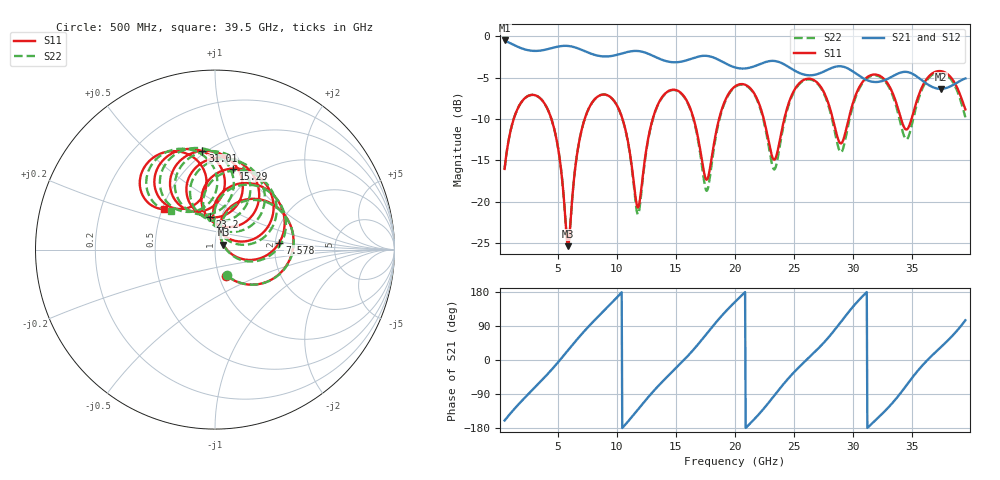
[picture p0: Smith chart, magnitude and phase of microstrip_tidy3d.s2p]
!Created with skrf (http://scikit-rf.org).
# Hz S RI R 50.0
!freq ReS11 ImS11 ReS21 ImS21 ReS12 ImS12 ReS22 ImS22
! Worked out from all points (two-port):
!   800 points, 500 MHz to 39.5 GHz, reference 50 ohm
!   highest |S21| = -0.49 dB at 500 MHz (marker M1); lowest = -6.3 dB at 37.4 GHz (marker M2)
!   |S21| within 3 dB of the highest: start of sweep to 19.52 GHz; 21.86 GHz to 24.3 GHz (2.437 GHz wide, 10.6 % of centre)
!   lowest |S11| = -25.4 dB at 5.869 GHz (marker M3), VSWR 1.11, Z = 54.8 + j2.93 ohm
!   |S11| at or under -10 dB: 4.465 GHz to 7.273 GHz (2.808 GHz wide, 47.9 % of centre); 10.48 GHz to 13.03 GHz (2.548 GHz wide, 21.7 % of centre); 16.51 GHz to 18.65 GHz (2.138 GHz wide, 12.2 % of centre)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
!   |S22| runs from -25.3 to -4.3 dB; largest |S21 - S12| = 0.0062
!   S11 on the Smith chart (normalised r, x): 500 MHz: 1.09, -0.32; 7.578 GHz: 2.11, +0.19; 15.29 GHz: 0.78, +0.89; 23.2 GHz: 0.88, +0.33; 31.01 GHz: 0.48, +0.76; 39.5 GHz: 0.51, +0.27
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5e8  0.0636 -0.1447  -0.8856 -0.3291  -0.8887 -0.3303  0.0661 -0.1438
3.038173e9  0.4185 0.1409  0.2379 -0.7813  0.2387 -0.7837  0.4217 0.1319
4.746558e9  0.0994 0.2479  0.8251 -0.2379  0.8277 -0.2385  0.1083 0.2446
5.869212e9  0.047 0.0266  0.7886 0.3797  0.7911 0.381  0.0481 0.025
7.040676e9  0.2733 -0.0396  0.297 0.7728  0.2979 0.7753  0.271 -0.0524
7.577597e9  0.3586 0.0392  0.0361 0.7971  0.036 0.7997  0.36 0.0214
1.07015e10  0.00938 0.2778  -0.7885 -0.1249  -0.7911 -0.1255  0.0206 0.2756
1.182416e10  0.0615 0.0698  -0.5148 -0.6322  -0.5165 -0.6345  0.0603 0.0593
1.353254e10  0.3261 0.223  0.2804 -0.6806  0.2816 -0.683  0.3418 0.1936
1.528974e10  0.102 0.4518  0.6839 -0.1513  0.6865 -0.1517  0.1308 0.442
1.77791e10  0.0745 0.1255  0.1832 0.7371  0.1837 0.7401  0.0788 0.1
2.002441e10  0.1547 0.4753  -0.5829 0.2841  -0.5855 0.2852  0.1998 0.4536
2.17816e10  -0.1427 0.4073  -0.5836 -0.3194  -0.5863 -0.3211  -0.114 0.4105
2.319712e10  -0.0297 0.1812  -0.1111 -0.7026  -0.1114 -0.7062  -0.017 0.1613
2.471026e10  0.149 0.3983  0.478 -0.4284  0.4807 -0.4305  0.195 0.3682
2.651627e10  -0.1378 0.533  0.5648 0.1424  0.568 0.1434  -0.0883 0.5379
2.876158e10  -0.1027 0.2119  -0.0274 0.6594  -0.0278 0.6636  -0.0814 0.1951
3.100688e10  -0.0702 0.5476  -0.5483 0.0501  -0.5522 0.0502  -0.00865 0.5442
3.300814e10  -0.338 0.3789  -0.3145 -0.4603  -0.3167 -0.4641  -0.3065 0.3904
3.530225e10  -0.0476 0.3866  0.4747 -0.3294  0.4791 -0.332  0.0126 0.3671
3.740113e10  -0.35 0.5078  0.4032 0.264  0.407 0.2669  -0.2951 0.5297
3.95e10  -0.283 0.2253  -0.1426 0.5382  -0.1446 0.544  -0.2447 0.2125
